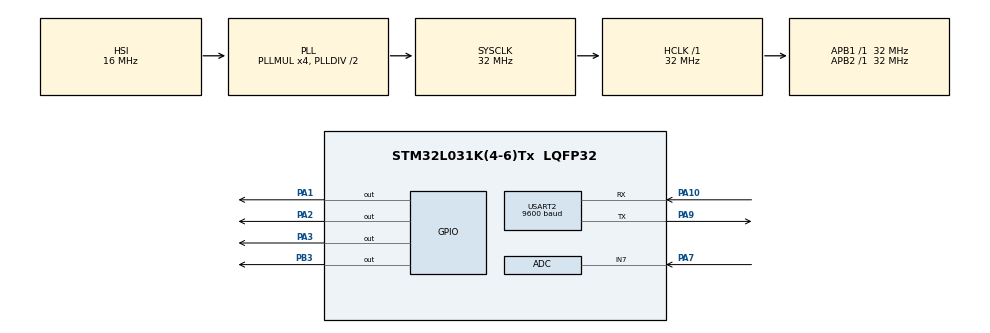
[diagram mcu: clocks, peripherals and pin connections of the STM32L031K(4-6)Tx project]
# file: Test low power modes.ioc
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Mcu.Family=STM32L0
Mcu.Name=STM32L031K(4-6)Tx
Mcu.Package=LQFP32
NVIC.RTC_IRQn=true\:0\:0\:false\:false\:true\:true\:true\:true
NVIC.USART2_IRQn=true\:0\:0\:false\:false\:true\:true\:true\:true
PA0-CK_IN.Mode=SYS_WakeUp0
PA0-CK_IN.Signal=SYS_WKUP1
PA1.Signal=GPIO_Output
PA10.Mode=Asynchronous
PA10.Signal=USART2_RX
PA13.Mode=Serial_Wire
PA13.Signal=SYS_SWDIO
PA14.Mode=Serial_Wire
PA14.Signal=SYS_SWCLK
PA2.Signal=GPIO_Output
PA3.Signal=GPIO_Output
PA7.Mode=IN7
PA7.Signal=ADC_IN7
PA9.Mode=Asynchronous
PA9.Signal=USART2_TX
PB3.Signal=GPIO_Output
PC14-OSC32_IN.Mode=LSE-External-Oscillator
PC14-OSC32_IN.Signal=RCC_OSC32_IN
PC15-OSC32_OUT.Mode=LSE-External-Oscillator
PC15-OSC32_OUT.Signal=RCC_OSC32_OUT
ProjectManager.HeapSize=0x200
ProjectManager.StackSize=0x400
ProjectManager.TargetToolchain=STM32CubeIDE
RCC.ADCFreq_Value=16000000
RCC.AHBFreq_Value=32000000
RCC.APB1Freq_Value=32000000
RCC.APB1TimFreq_Value=32000000
RCC.APB2Freq_Value=32000000
RCC.APB2TimFreq_Value=32000000
RCC.HCLKFreq_Value=32000000
RCC.HSE_VALUE=8000000
RCC.HSI16_VALUE=16000000
RCC.HSI_VALUE=16000000
RCC.MSI_VALUE=2097000
RCC.PLLMUL=RCC_PLLMUL_4
RCC.RTCClockSelection=RCC_RTCCLKSOURCE_LSE
RCC.RTCClockSelectionVirtual=RCC_RTCCLKSOURCE_LSE
RCC.SYSCLKFreq_VALUE=32000000
RCC.SYSCLKSource=RCC_SYSCLKSOURCE_PLLCLK
RCC.VCOOutputFreq_Value=64000000
USART2.BaudRate=9600
USART2.VirtualMode-Asynchronous=VM_ASYNC
VP_RTC_VS_RTC_Activate.Mode=RTC_Enabled
VP_RTC_VS_RTC_WakeUp_intern.Mode=WakeUp
board=custom

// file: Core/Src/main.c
/* USER CODE BEGIN Header */
/**
  ******************************************************************************
  * @file           : main.c
  * @brief          : Main program body
  ******************************************************************************
  * @attention
  *
  * Copyright (c) 2025 STMicroelectronics.
  * All rights reserved.
  *
  * This software is licensed under terms that can be found in the LICENSE file
  * in the root directory of this software component.
  * If no LICENSE file comes with this software, it is provided AS-IS.
  *
  ******************************************************************************
  */
/* USER CODE END Header */
#include "main.h"

/* USER CODE BEGIN Includes */
#include <string.h>
#include <stdio.h>
#include "Driver_USART_HAL.h"
#include "LOW_POWER_PMOS.h"
/* USER CODE END Includes */

/* USER CODE BEGIN PM */
#define NUM_CAPTEUR (1)
/* USER CODE END PM */

ADC_HandleTypeDef hadc;

RTC_HandleTypeDef hrtc;

UART_HandleTypeDef huart2;

/* USER CODE BEGIN PV */
uint16_t sensorValue = 42;
uint8_t rx_data;
uint8_t isRec = 0;
/* USER CODE END PV */

void SystemClock_Config(void);
static void MX_GPIO_Init(void);
static void MX_ADC_Init(void);
static void MX_USART2_UART_Init(void);
static void MX_RTC_Init(void);

/* USER CODE BEGIN 0 */
char wake_up_type = 0;
uint32_t rtc_flag;
/* USER CODE END 0 */

int main(void)
{

  /* MCU Configuration--------------------------------------------------------*/

  /* Reset of all peripherals, Initializes the Flash interface and the Systick. */
  HAL_Init();

  /* Configure the system clock */
  SystemClock_Config();

  /* Initialize all configured peripherals */
  MX_GPIO_Init();
  MX_ADC_Init();
  MX_USART2_UART_Init();
  MX_RTC_Init();
  /* USER CODE BEGIN 2 */
  rtc_flag = __HAL_RTC_WAKEUPTIMER_GET_FLAG(&hrtc, RTC_FLAG_WUTF);

  XBEE_ON();
  SENSOR_ON();

  /* ### Indicator light : STM32 is ON ### */
  HAL_GPIO_WritePin(GPIOA, GPIO_PIN_1, GPIO_PIN_SET);

  // Delay to wait for the cold start of the Xbee (possibility to reduce it)
  HAL_Delay(1000);
  Send_Trame(4, DATA_SWITCH, 0, &huart2);

  /* ### Wake up from STAND-BY mode ### */
  /* STEP 1 : Check if the stand by (SBF - Stand By Flag) mode is set => Test if the STM is waking up from SB mode */
  if (__HAL_PWR_GET_FLAG(PWR_FLAG_SB) != RESET)
  {
    __HAL_PWR_CLEAR_FLAG(PWR_FLAG_SB); //Clear SBF

    /* STEP 2 : Detect wake up source (Wake-up pin or RTC Alarm) */
    if (__HAL_RTC_WAKEUPTIMER_GET_FLAG(&hrtc, RTC_FLAG_WUTF) || rtc_flag) {
      // Wake up from RTC Alarm
      Send_Trame(NUM_CAPTEUR, DATA_HUM, getValue(&hadc), &huart2);
    }
    else {
      // Wake up from Reset Pin
      Send_Trame(NUM_CAPTEUR, DATA_SWITCH, 0, &huart2);
      HAL_UART_Receive_IT(&huart2, &rx_data, 1);
      HAL_Delay(10000);

      if (isRec && isAck(NUM_CAPTEUR, DATA_SWITCH, rx_data))
      {
    	  LED_ON();
    	  HAL_Delay(1000);
    	  LED_OFF();
      }
    }

    /* STEP 4 : Disable the wake up pin (A0) */
    HAL_PWR_DisableWakeUpPin(PWR_WAKEUP_PIN1);

    /* STEP 5 : Disable RTC Wake Up */
    HAL_RTCEx_DeactivateWakeUpTimer(&hrtc);
  }

  Send_Trame(6, DATA_SWITCH, 0, &huart2);

  XBEE_OFF();
  SENSOR_OFF();
//  while (1)
//  {
//	  Send_Trame(3, DATA_SWITCH, 0, &huart2);
//	  HAL_Delay(500);
//  }

  /* ### Enter STAND-BY mode ### */
  /* STEP 1 : Clear the Wake-Up (WU) flag and RTC Wake-Up Timer (WUTF) flag*/
  __HAL_PWR_CLEAR_FLAG(PWR_FLAG_WU); //Clear Wake Up Flag
  __HAL_RTC_WAKEUPTIMER_CLEAR_FLAG(&hrtc, RTC_FLAG_WUTF); //Clear RTC Wake Up Flag

  /* STEP 2 : Enable the Wake-Up (WU) pin */
  HAL_PWR_EnableWakeUpPin(PWR_WAKEUP_PIN1);

  /* STEP 3 : Enable RTC Alarm Wake up*/
  /* Details : RTC Wake-Up Interrupt Generation
   * Wake-up time base = (RTC_WAKEUPCLOCK_RTCCLK_DIV /(LSI))
   * ==> WakeUpCounter = Wake-up time / Wake-up time base
   *
   * To configure the wake up timer to 5s the WakeUpCounter is set to 0x2710
   * RTC_WAKEUPCLOCK_RTCCLK_DIV = RTCCLK_Div16 = 16
   * Wake-up time base = 16 /(32kHz) = 0.0005 seconds
   * ==> WakeUpCounter = ~5s/0.0005s = 20000 = 0x2710
   */
  if (HAL_RTCEx_SetWakeUpTimer_IT(&hrtc, 0x9C40, RTC_WAKEUPCLOCK_RTCCLK_DIV16) != HAL_OK)
  {
   Error_Handler();
  }

  /* STEP 4 : Enter Stand-by mode */
  HAL_PWR_EnterSTANDBYMode();

  /* USER CODE END 2 */

  /* Infinite loop */
  while (1)
  {

  }
}

void SystemClock_Config(void)
{
  RCC_OscInitTypeDef RCC_OscInitStruct = {0};
  RCC_ClkInitTypeDef RCC_ClkInitStruct = {0};
  RCC_PeriphCLKInitTypeDef PeriphClkInit = {0};

  /** Configure the main internal regulator output voltage
  */
  __HAL_PWR_VOLTAGESCALING_CONFIG(PWR_REGULATOR_VOLTAGE_SCALE1);

  /** Configure LSE Drive Capability
  */
  HAL_PWR_EnableBkUpAccess();
  __HAL_RCC_LSEDRIVE_CONFIG(RCC_LSEDRIVE_LOW);

  /** Initializes the RCC Oscillators according to the specified parameters
  * in the RCC_OscInitTypeDef structure.
  */
  RCC_OscInitStruct.OscillatorType = RCC_OSCILLATORTYPE_HSI|RCC_OSCILLATORTYPE_LSE;
  RCC_OscInitStruct.LSEState = RCC_LSE_ON;
  RCC_OscInitStruct.HSIState = RCC_HSI_ON;
  RCC_OscInitStruct.HSICalibrationValue = RCC_HSICALIBRATION_DEFAULT;
  RCC_OscInitStruct.PLL.PLLState = RCC_PLL_ON;
  RCC_OscInitStruct.PLL.PLLSource = RCC_PLLSOURCE_HSI;
  RCC_OscInitStruct.PLL.PLLMUL = RCC_PLLMUL_4;
  RCC_OscInitStruct.PLL.PLLDIV = RCC_PLLDIV_2;
  if (HAL_RCC_OscConfig(&RCC_OscInitStruct) != HAL_OK)
  {
    Error_Handler();
  }

  /** Initializes the CPU, AHB and APB buses clocks
  */
  RCC_ClkInitStruct.ClockType = RCC_CLOCKTYPE_HCLK|RCC_CLOCKTYPE_SYSCLK
                              |RCC_CLOCKTYPE_PCLK1|RCC_CLOCKTYPE_PCLK2;
  RCC_ClkInitStruct.SYSCLKSource = RCC_SYSCLKSOURCE_PLLCLK;
  RCC_ClkInitStruct.AHBCLKDivider = RCC_SYSCLK_DIV1;
  RCC_ClkInitStruct.APB1CLKDivider = RCC_HCLK_DIV1;
  RCC_ClkInitStruct.APB2CLKDivider = RCC_HCLK_DIV1;

  if (HAL_RCC_ClockConfig(&RCC_ClkInitStruct, FLASH_LATENCY_1) != HAL_OK)
  {
    Error_Handler();
  }
  PeriphClkInit.PeriphClockSelection = RCC_PERIPHCLK_USART2|RCC_PERIPHCLK_RTC;
  PeriphClkInit.Usart2ClockSelection = RCC_USART2CLKSOURCE_PCLK1;
  PeriphClkInit.RTCClockSelection = RCC_RTCCLKSOURCE_LSE;
  if (HAL_RCCEx_PeriphCLKConfig(&PeriphClkInit) != HAL_OK)
  {
    Error_Handler();
  }
}

static void MX_ADC_Init(void)
{

  ADC_ChannelConfTypeDef sConfig = {0};

  /** Configure the global features of the ADC (Clock, Resolution, Data Alignment and number of conversion)
  */
  hadc.Instance = ADC1;
  hadc.Init.OversamplingMode = DISABLE;
  hadc.Init.ClockPrescaler = ADC_CLOCK_SYNC_PCLK_DIV2;
  hadc.Init.Resolution = ADC_RESOLUTION_12B;
  hadc.Init.SamplingTime = ADC_SAMPLETIME_1CYCLE_5;
  hadc.Init.ScanConvMode = ADC_SCAN_DIRECTION_FORWARD;
  hadc.Init.DataAlign = ADC_DATAALIGN_RIGHT;
  hadc.Init.ContinuousConvMode = DISABLE;
  hadc.Init.DiscontinuousConvMode = DISABLE;
  hadc.Init.ExternalTrigConvEdge = ADC_EXTERNALTRIGCONVEDGE_NONE;
  hadc.Init.ExternalTrigConv = ADC_SOFTWARE_START;
  hadc.Init.DMAContinuousRequests = DISABLE;
  hadc.Init.EOCSelection = ADC_EOC_SINGLE_CONV;
  hadc.Init.Overrun = ADC_OVR_DATA_PRESERVED;
  hadc.Init.LowPowerAutoWait = DISABLE;
  hadc.Init.LowPowerFrequencyMode = DISABLE;
  hadc.Init.LowPowerAutoPowerOff = DISABLE;
  if (HAL_ADC_Init(&hadc) != HAL_OK)
  {
    Error_Handler();
  }

  /** Configure for the selected ADC regular channel to be converted.
  */
  sConfig.Channel = ADC_CHANNEL_7;
  sConfig.Rank = ADC_RANK_CHANNEL_NUMBER;
  if (HAL_ADC_ConfigChannel(&hadc, &sConfig) != HAL_OK)
  {
    Error_Handler();
  }

}

static void MX_RTC_Init(void)
{

  /** Initialize RTC Only
  */
  hrtc.Instance = RTC;
  hrtc.Init.HourFormat = RTC_HOURFORMAT_24;
  hrtc.Init.AsynchPrediv = 127;
  hrtc.Init.SynchPrediv = 255;
  hrtc.Init.OutPut = RTC_OUTPUT_DISABLE;
  hrtc.Init.OutPutRemap = RTC_OUTPUT_REMAP_NONE;
  hrtc.Init.OutPutPolarity = RTC_OUTPUT_POLARITY_HIGH;
  hrtc.Init.OutPutType = RTC_OUTPUT_TYPE_OPENDRAIN;
  if (HAL_RTC_Init(&hrtc) != HAL_OK)
  {
    Error_Handler();
  }

  /** Enable the WakeUp
  */
//  if (HAL_RTCEx_SetWakeUpTimer_IT(&hrtc, 0, RTC_WAKEUPCLOCK_RTCCLK_DIV16) != HAL_OK)
//  {
//    Error_Handler();
//  }
  /* USER CODE BEGIN RTC_Init 2 */

  ///////////////// To ensure RTC wake up
  ///////////////// Make sure to have this, in comments, before :

  //  if (HAL_RTCEx_SetWakeUpTimer_IT(&hrtc, 0, RTC_WAKEUPCLOCK_RTCCLK_DIV16) != HAL_OK)
  //  {
  //    Error_Handler();
  //  }

  /* USER CODE END RTC_Init 2 */

}

static void MX_USART2_UART_Init(void)
{

  huart2.Instance = USART2;
  huart2.Init.BaudRate = 9600;
  huart2.Init.WordLength = UART_WORDLENGTH_8B;
  huart2.Init.StopBits = UART_STOPBITS_1;
  huart2.Init.Parity = UART_PARITY_NONE;
  huart2.Init.Mode = UART_MODE_TX_RX;
  huart2.Init.HwFlowCtl = UART_HWCONTROL_NONE;
  huart2.Init.OverSampling = UART_OVERSAMPLING_16;
  huart2.Init.OneBitSampling = UART_ONE_BIT_SAMPLE_DISABLE;
  huart2.AdvancedInit.AdvFeatureInit = UART_ADVFEATURE_NO_INIT;
  if (HAL_UART_Init(&huart2) != HAL_OK)
  {
    Error_Handler();
  }
  /* USER CODE BEGIN USART2_Init 2 */
  if (HAL_UART_Receive_IT(&huart2, &rx_data, 1) != HAL_OK)
	{
		Error_Handler();
	}
  /* USER CODE END USART2_Init 2 */

}

static void MX_GPIO_Init(void)
{
  GPIO_InitTypeDef GPIO_InitStruct = {0};

  /* GPIO Ports Clock Enable */
  __HAL_RCC_GPIOC_CLK_ENABLE();
  __HAL_RCC_GPIOA_CLK_ENABLE();
  __HAL_RCC_GPIOB_CLK_ENABLE();

  /*Configure GPIO pin Output Level */
  HAL_GPIO_WritePin(GPIOA, GPIO_PIN_1|GPIO_PIN_2|GPIO_PIN_3, GPIO_PIN_RESET);

  /*Configure GPIO pin Output Level */
  HAL_GPIO_WritePin(GPIOB, GPIO_PIN_3, GPIO_PIN_RESET);

  /*Configure GPIO pins : PA1 PA2 PA3 */
  GPIO_InitStruct.Pin = GPIO_PIN_1|GPIO_PIN_2|GPIO_PIN_3;
  GPIO_InitStruct.Mode = GPIO_MODE_OUTPUT_PP;
  GPIO_InitStruct.Pull = GPIO_NOPULL;
  GPIO_InitStruct.Speed = GPIO_SPEED_FREQ_LOW;
  HAL_GPIO_Init(GPIOA, &GPIO_InitStruct);

  /*Configure GPIO pin : PB3 */
  GPIO_InitStruct.Pin = GPIO_PIN_3;
  GPIO_InitStruct.Mode = GPIO_MODE_OUTPUT_PP;
  GPIO_InitStruct.Pull = GPIO_NOPULL;
  GPIO_InitStruct.Speed = GPIO_SPEED_FREQ_LOW;
  HAL_GPIO_Init(GPIOB, &GPIO_InitStruct);

}

/* USER CODE BEGIN 4 */
void HAL_UART_RxCpltCallback(UART_HandleTypeDef *huart)
{
	if (huart->Instance == USART2)
	{
//		HAL_UART_Transmit(&huart2, &rx_data, 1, HAL_MAX_DELAY);
		isRec = 1;
	}
}

/* USER CODE END 4 */

void Error_Handler(void)
{
  __disable_irq();
  while (1)
  {
  }
}
